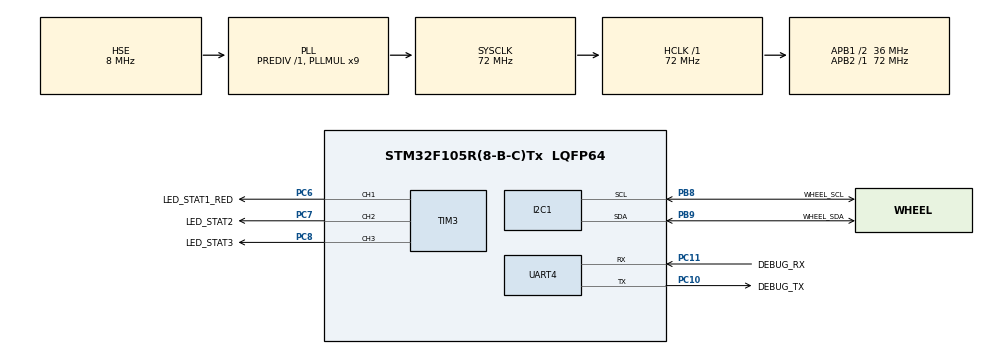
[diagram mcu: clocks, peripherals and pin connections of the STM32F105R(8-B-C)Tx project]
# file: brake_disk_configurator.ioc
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I2C1.I2C_Mode=I2C_Standard
Mcu.Family=STM32F1
Mcu.Name=STM32F105R(8-B-C)Tx
Mcu.Package=LQFP64
Mcu.UserConstants=DEBUG_UART,$$_UART4_IP_HANDLE_$$;LED_TIMER,$$_TIM3_IP_HANDLE_$$;WHEEL_I2C,$$_I2C1_IP_HANDLE_$$
NVIC.PriorityGroup=NVIC_PRIORITYGROUP_4
PA13.Mode=Serial_Wire
PA13.Signal=SYS_JTMS-SWDIO
PA14.Mode=Serial_Wire
PA14.Signal=SYS_JTCK-SWCLK
PB8.GPIO_Label=WHEEL_SCL
PB8.Mode=I2C
PB8.Signal=I2C1_SCL
PB9.GPIO_Label=WHEEL_SDA
PB9.Mode=I2C
PB9.Signal=I2C1_SDA
PC10.GPIO_Label=DEBUG_TX
PC10.Mode=Asynchronous
PC10.Signal=UART4_TX
PC11.GPIO_Label=DEBUG_RX
PC11.Mode=Asynchronous
PC11.Signal=UART4_RX
PC6.GPIO_Label=LED_STAT1_RED
PC6.Signal=S_TIM3_CH1
PC7.GPIO_Label=LED_STAT2
PC7.Signal=S_TIM3_CH2
PC8.GPIO_Label=LED_STAT3
PC8.Signal=S_TIM3_CH3
PD0-OSC_IN.Mode=HSE-External-Oscillator
PD0-OSC_IN.Signal=RCC_OSC_IN
PD1-OSC_OUT.Mode=HSE-External-Oscillator
PD1-OSC_OUT.Signal=RCC_OSC_OUT
ProjectManager.HeapSize=0x200
ProjectManager.StackSize=0x400
ProjectManager.TargetToolchain=STM32CubeIDE
RCC.AHBFreq_Value=72000000
RCC.APB1CLKDivider=RCC_HCLK_DIV2
RCC.APB1Freq_Value=36000000
RCC.APB1TimFreq_Value=72000000
RCC.APB2Freq_Value=72000000
RCC.APB2TimFreq_Value=72000000
RCC.HCLKFreq_Value=72000000
RCC.PLLMUL=RCC_PLL_MUL9
RCC.PLLSourceVirtual=RCC_PLLSOURCE_HSE
RCC.SYSCLKFreq_VALUE=72000000
RCC.SYSCLKSource=RCC_SYSCLKSOURCE_PLLCLK
RCC.USBFreq_Value=48000000
SH.S_TIM3_CH1.0=TIM3_CH1,PWM Generation1 CH1
SH.S_TIM3_CH2.0=TIM3_CH2,PWM Generation2 CH2
SH.S_TIM3_CH3.0=TIM3_CH3,PWM Generation3 CH3
TIM3.Channel-PWM\ Generation1\ CH1=TIM_CHANNEL_1
TIM3.Channel-PWM\ Generation2\ CH2=TIM_CHANNEL_2
TIM3.Channel-PWM\ Generation3\ CH3=TIM_CHANNEL_3
TIM3.OCMode_PWM-PWM\ Generation1\ CH1=TIM_OCMODE_PWM1
TIM3.Pulse-PWM\ Generation1\ CH1=0
TIM3.Pulse-PWM\ Generation2\ CH2=10000
TIM3.Pulse-PWM\ Generation3\ CH3=50000
UART4.VirtualMode=Asynchronous
VP_TIM3_VS_ClockSourceINT.Mode=Internal
board=custom

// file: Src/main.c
/* USER CODE BEGIN Header */
/**
  ******************************************************************************
  * @file           : main.c
  * @brief          : Main program body
  ******************************************************************************
  * @attention
  *
  * Copyright (c) 2026 STMicroelectronics.
  * All rights reserved.
  *
  * This software is licensed under terms that can be found in the LICENSE file
  * in the root directory of this software component.
  * If no LICENSE file comes with this software, it is provided AS-IS.
  *
  ******************************************************************************
  */
/* USER CODE END Header */
#include "main.h"

/* USER CODE BEGIN Includes */
#include <stdio.h>
#include "mlx90614.h"
#include "string.h"
/* USER CODE END Includes */

/* USER CODE BEGIN PTD */
enum CLICommandType {
	CLI_UNKNOWN 		= 0,
	CLI_HELP			= 'H',
	CLI_SCAN 			= 'S',
	CLI_READ_OBJECT 	= 'O',
	CLI_READ_AMBIENT 	= 'A',
	CLI_SET_EMISSIVITY 	= 'E',
	CLI_CHANGE_ADDRESS 	= 'C',
};
/* USER CODE END PTD */

I2C_HandleTypeDef hi2c1;

TIM_HandleTypeDef htim3;

UART_HandleTypeDef huart4;

/* USER CODE BEGIN PV */
static const uint8_t MIN_I2C_ADDR = 0x01;
static const uint8_t MAX_I2C_ADDR = 0x7F;
/* USER CODE END PV */

void SystemClock_Config(void);
static void MX_GPIO_Init(void);
static void MX_TIM3_Init(void);
static void MX_I2C1_Init(void);
static void MX_UART4_Init(void);
/* USER CODE BEGIN PFP */
int handle_calibration(uint8_t* buffer_in, uint32_t length_in, char output_message[], const size_t OUT_BUF_LEN);
/* USER CODE END PFP */

/* USER CODE BEGIN 0 */
static HAL_StatusTypeDef led_set_duty(uint8_t led, uint16_t duty) {
	TIM_OC_InitTypeDef sConfigOC = {0};
	sConfigOC.OCMode = TIM_OCMODE_PWM1;
	sConfigOC.Pulse = duty;
	sConfigOC.OCPolarity = TIM_OCPOLARITY_HIGH;
	sConfigOC.OCFastMode = TIM_OCFAST_DISABLE;

	switch (led) {
	case 1:
		return HAL_TIM_PWM_ConfigChannel(&LED_TIMER, &sConfigOC, TIM_CHANNEL_1);
	case 2:
		return HAL_TIM_PWM_ConfigChannel(&LED_TIMER, &sConfigOC, TIM_CHANNEL_2);
	case 3:
		return HAL_TIM_PWM_ConfigChannel(&LED_TIMER, &sConfigOC, TIM_CHANNEL_3);
	default:
		return HAL_ERROR; // Unrecognized LED number
	}

	return HAL_ERROR; // This shouldn't ever be reached
}
/* USER CODE END 0 */

int main(void)
{

  /* MCU Configuration--------------------------------------------------------*/

  /* Reset of all peripherals, Initializes the Flash interface and the Systick. */
  HAL_Init();

  /* Configure the system clock */
  SystemClock_Config();

  /* Initialize all configured peripherals */
  MX_GPIO_Init();
  MX_TIM3_Init();
  MX_I2C1_Init();
  MX_UART4_Init();
  /* USER CODE BEGIN 2 */

	const uint16_t IN_BUFFER_SIZE = 1024;
	const uint16_t OUT_BUFFER_SIZE = 1024;
	uint8_t in_buffer[IN_BUFFER_SIZE];
	memset(in_buffer, 0, IN_BUFFER_SIZE);
	uint16_t out_length = 0;
	uint8_t out_buffer[OUT_BUFFER_SIZE];
	memset(out_buffer, 0, OUT_BUFFER_SIZE);
  /* USER CODE END 2 */

  /* Infinite loop */
  while (1)
  {

    /* USER CODE BEGIN 3 */
		led_set_duty(3, UINT16_MAX);
		memset(in_buffer, 0, IN_BUFFER_SIZE);
		HAL_UART_Receive(&DEBUG_UART, in_buffer, IN_BUFFER_SIZE, 1000);
		led_set_duty(3, 0);

		out_length = handle_calibration(in_buffer, IN_BUFFER_SIZE, (char*)out_buffer, OUT_BUFFER_SIZE);
		if (out_length > 0) {
			HAL_UART_Transmit(&DEBUG_UART, out_buffer, out_length, 1000);
			memset(out_buffer, 0, out_length);
		}
		HAL_Delay(500);
  }
  /* USER CODE END 3 */
}

void SystemClock_Config(void)
{
  RCC_OscInitTypeDef RCC_OscInitStruct = {0};
  RCC_ClkInitTypeDef RCC_ClkInitStruct = {0};

  /** Initializes the RCC Oscillators according to the specified parameters
  * in the RCC_OscInitTypeDef structure.
  */
  RCC_OscInitStruct.OscillatorType = RCC_OSCILLATORTYPE_HSE;
  RCC_OscInitStruct.HSEState = RCC_HSE_ON;
  RCC_OscInitStruct.HSEPredivValue = RCC_HSE_PREDIV_DIV1;
  RCC_OscInitStruct.HSIState = RCC_HSI_ON;
  RCC_OscInitStruct.Prediv1Source = RCC_PREDIV1_SOURCE_HSE;
  RCC_OscInitStruct.PLL.PLLState = RCC_PLL_ON;
  RCC_OscInitStruct.PLL.PLLSource = RCC_PLLSOURCE_HSE;
  RCC_OscInitStruct.PLL.PLLMUL = RCC_PLL_MUL9;
  RCC_OscInitStruct.PLL2.PLL2State = RCC_PLL_NONE;
  if (HAL_RCC_OscConfig(&RCC_OscInitStruct) != HAL_OK)
  {
    Error_Handler();
  }

  /** Initializes the CPU, AHB and APB buses clocks
  */
  RCC_ClkInitStruct.ClockType = RCC_CLOCKTYPE_HCLK|RCC_CLOCKTYPE_SYSCLK
                              |RCC_CLOCKTYPE_PCLK1|RCC_CLOCKTYPE_PCLK2;
  RCC_ClkInitStruct.SYSCLKSource = RCC_SYSCLKSOURCE_PLLCLK;
  RCC_ClkInitStruct.AHBCLKDivider = RCC_SYSCLK_DIV1;
  RCC_ClkInitStruct.APB1CLKDivider = RCC_HCLK_DIV2;
  RCC_ClkInitStruct.APB2CLKDivider = RCC_HCLK_DIV1;

  if (HAL_RCC_ClockConfig(&RCC_ClkInitStruct, FLASH_LATENCY_2) != HAL_OK)
  {
    Error_Handler();
  }

  /** Configure the Systick interrupt time
  */
  __HAL_RCC_PLLI2S_ENABLE();
}

static void MX_I2C1_Init(void)
{

  hi2c1.Instance = I2C1;
  hi2c1.Init.ClockSpeed = 100000;
  hi2c1.Init.DutyCycle = I2C_DUTYCYCLE_2;
  hi2c1.Init.OwnAddress1 = 0;
  hi2c1.Init.AddressingMode = I2C_ADDRESSINGMODE_7BIT;
  hi2c1.Init.DualAddressMode = I2C_DUALADDRESS_DISABLE;
  hi2c1.Init.OwnAddress2 = 0;
  hi2c1.Init.GeneralCallMode = I2C_GENERALCALL_DISABLE;
  hi2c1.Init.NoStretchMode = I2C_NOSTRETCH_DISABLE;
  if (HAL_I2C_Init(&hi2c1) != HAL_OK)
  {
    Error_Handler();
  }

}

static void MX_TIM3_Init(void)
{

  TIM_ClockConfigTypeDef sClockSourceConfig = {0};
  TIM_MasterConfigTypeDef sMasterConfig = {0};
  TIM_OC_InitTypeDef sConfigOC = {0};

  htim3.Instance = TIM3;
  htim3.Init.Prescaler = 0;
  htim3.Init.CounterMode = TIM_COUNTERMODE_UP;
  htim3.Init.Period = 65535;
  htim3.Init.ClockDivision = TIM_CLOCKDIVISION_DIV1;
  htim3.Init.AutoReloadPreload = TIM_AUTORELOAD_PRELOAD_DISABLE;
  if (HAL_TIM_Base_Init(&htim3) != HAL_OK)
  {
    Error_Handler();
  }
  sClockSourceConfig.ClockSource = TIM_CLOCKSOURCE_INTERNAL;
  if (HAL_TIM_ConfigClockSource(&htim3, &sClockSourceConfig) != HAL_OK)
  {
    Error_Handler();
  }
  if (HAL_TIM_PWM_Init(&htim3) != HAL_OK)
  {
    Error_Handler();
  }
  sMasterConfig.MasterOutputTrigger = TIM_TRGO_RESET;
  sMasterConfig.MasterSlaveMode = TIM_MASTERSLAVEMODE_DISABLE;
  if (HAL_TIMEx_MasterConfigSynchronization(&htim3, &sMasterConfig) != HAL_OK)
  {
    Error_Handler();
  }
  sConfigOC.OCMode = TIM_OCMODE_PWM1;
  sConfigOC.Pulse = 0;
  sConfigOC.OCPolarity = TIM_OCPOLARITY_HIGH;
  sConfigOC.OCFastMode = TIM_OCFAST_DISABLE;
  if (HAL_TIM_PWM_ConfigChannel(&htim3, &sConfigOC, TIM_CHANNEL_1) != HAL_OK)
  {
    Error_Handler();
  }
  sConfigOC.Pulse = 10000;
  if (HAL_TIM_PWM_ConfigChannel(&htim3, &sConfigOC, TIM_CHANNEL_2) != HAL_OK)
  {
    Error_Handler();
  }
  sConfigOC.Pulse = 50000;
  if (HAL_TIM_PWM_ConfigChannel(&htim3, &sConfigOC, TIM_CHANNEL_3) != HAL_OK)
  {
    Error_Handler();
  }
  /* USER CODE BEGIN TIM3_Init 2 */
	HAL_TIM_PWM_Start(&htim3, TIM_CHANNEL_1);
	HAL_TIM_PWM_Start(&htim3, TIM_CHANNEL_2);
	HAL_TIM_PWM_Start(&htim3, TIM_CHANNEL_3);
  /* USER CODE END TIM3_Init 2 */
  HAL_TIM_MspPostInit(&htim3);

}

static void MX_UART4_Init(void)
{

  huart4.Instance = UART4;
  huart4.Init.BaudRate = 115200;
  huart4.Init.WordLength = UART_WORDLENGTH_8B;
  huart4.Init.StopBits = UART_STOPBITS_1;
  huart4.Init.Parity = UART_PARITY_NONE;
  huart4.Init.Mode = UART_MODE_TX_RX;
  huart4.Init.HwFlowCtl = UART_HWCONTROL_NONE;
  huart4.Init.OverSampling = UART_OVERSAMPLING_16;
  if (HAL_UART_Init(&huart4) != HAL_OK)
  {
    Error_Handler();
  }

}

static void MX_GPIO_Init(void)
{

  /* GPIO Ports Clock Enable */
  __HAL_RCC_GPIOD_CLK_ENABLE();
  __HAL_RCC_GPIOC_CLK_ENABLE();
  __HAL_RCC_GPIOA_CLK_ENABLE();
  __HAL_RCC_GPIOB_CLK_ENABLE();

}

/* USER CODE BEGIN 4 */
int perform_i2c_scan(I2C_HandleTypeDef* bus, uint8_t result_buffer[], const uint8_t MAX_MATCHES) {
	assert(MAX_MATCHES > 0);

	uint_fast8_t match_count = 0;

	const uint8_t I2C_TRIALS = 3;
	const uint32_t I2C_TIMEOUT = 10;

	for (uint8_t add = MIN_I2C_ADDR; add <= MAX_I2C_ADDR; add++) {
		if (HAL_I2C_IsDeviceReady(bus, add << 1, I2C_TRIALS, I2C_TIMEOUT) != HAL_OK) continue;

		// Avoid writing out of bounds, but keep counting
		if (match_count < MAX_MATCHES) result_buffer[match_count] = add;
		match_count++;
	}

	return match_count;
}

uint8_t parse_address(uint8_t buffer[]) {
	uint8_t address = 0;
	for (int i = 0; i < 2; i++) {
		address = address << 4;
		int8_t temp = buffer[i];

		if (temp >= '0' && temp <= '9') address = address + (temp - '0');
		else if (temp >= 'A' && temp <= 'F') address = address + 10 + (temp - 'A');
		else return UINT8_MAX; // Definitely invalid
	}
	return address;
}

float parse_emissivity(uint8_t buffer[]) {
	uint32_t numerator = 0;
	uint32_t denominator = 1;

	for (uint8_t i = 0; buffer[i] != 0; i++) {
		denominator = denominator * 10;
		numerator = numerator * 10;

		int8_t temp = buffer[i];
		if (temp < '0' || temp > '9') return -1.0; // Definitely invalid
		numerator = numerator + (temp - '0');
	}

	float emissivity = (float)numerator / (float)denominator;
	return emissivity;
}

int handle_calibration(uint8_t* buffer_in, uint32_t length_in, char output_message[], const size_t OUT_BUF_LEN) {
	if (length_in < 1) return 0;
	if (buffer_in[0] == 0) return 0;

	HAL_StatusTypeDef ret = HAL_OK;

	output_message[0] = 0; // Default to an empty string

	int pos = 0;

	enum CLICommandType command = buffer_in[0];

	struct MLXDevice target_mlx = {
			.address = 0,
			.i2c_bus = &WHEEL_I2C,
	};

	switch (command) {
	case CLI_READ_AMBIENT:
	case CLI_READ_OBJECT:
	case CLI_CHANGE_ADDRESS:
	case CLI_SET_EMISSIVITY:
		if (length_in < 3) {
			pos += snprintf(&output_message[pos], OUT_BUF_LEN - pos, "Insufficient characters received for a valid I2C address\n");
			return pos;
		}

		uint8_t temp_buf[3] = {0, 0, 0};
		temp_buf[0] = buffer_in[1];
		temp_buf[1] = buffer_in[2];
		target_mlx.address = parse_address(temp_buf);

		if (!(target_mlx.address >= MIN_I2C_ADDR && target_mlx.address <= MAX_I2C_ADDR)) {
			pos += snprintf(&output_message[pos], OUT_BUF_LEN - pos, "Invalid I2C address specified \'%s\', must be between 0x%02X and 0x%02X inclusive\n", temp_buf, MIN_I2C_ADDR, MAX_I2C_ADDR);
			return pos;
		}
		break;

	case CLI_HELP:
	case CLI_SCAN:
	default:
		break;
	}

	const uint8_t MAX_I2C_MATCHES = 10;
	uint8_t matches[MAX_I2C_MATCHES];

	switch (command) {
	case CLI_HELP:
		pos += snprintf(&output_message[pos], OUT_BUF_LEN - pos, "\n\nTITAN CALIBRATION FIRMWARE HELP\n");
		pos += snprintf(&output_message[pos], OUT_BUF_LEN - pos, "All commands follow format \"CA,P\" where:\n\tC is command character\n\tA is target address in hexadecimal\n\tP is optional parameter with leading comma\n");
		pos += snprintf(&output_message[pos], OUT_BUF_LEN - pos, "Valid command characters:\n");
		pos += snprintf(&output_message[pos], OUT_BUF_LEN - pos, "\t%c - Print this help message (no node/parameter)\n", CLI_HELP);
		pos += snprintf(&output_message[pos], OUT_BUF_LEN - pos, "\t%c - Scan wheel I2C bus for sensors (A and P will be ignored)\n", CLI_SCAN);
		pos += snprintf(&output_message[pos], OUT_BUF_LEN - pos, "\t%c - Read the object temperature of the sensor\n", CLI_READ_OBJECT);
		pos += snprintf(&output_message[pos], OUT_BUF_LEN - pos, "\t%c - Read the ambient temperature of the sensor\n", CLI_READ_AMBIENT);
		pos += snprintf(&output_message[pos], OUT_BUF_LEN - pos, "\t%c - Set sensor's object's emissivity as P (decimal points after 0, so 0.73 would be \'73\', enter \'0\' for 1.0)\n", CLI_SET_EMISSIVITY);
		pos += snprintf(&output_message[pos], OUT_BUF_LEN - pos, "\t%c - Change sensor's address from A to P (hexadecimal)\n", CLI_CHANGE_ADDRESS);
		pos += snprintf(&output_message[pos], OUT_BUF_LEN - pos, "\nNOTE: Sensor address and object emissivity are stored to non-volatile memory AND NEED A REBOOT!\n\n");
		break;
	case CLI_SCAN:
		int match_count = perform_i2c_scan(target_mlx.i2c_bus, matches, MAX_I2C_MATCHES);

		if (match_count == 0) pos += snprintf(&output_message[pos], OUT_BUF_LEN - pos, "No devices found on wheel I2C bus. Check connections.\n");
		else if (match_count < 0) pos += snprintf(&output_message[pos], OUT_BUF_LEN - pos, "Error happened during I2C scan: %d\n", match_count);
		else if (match_count <= MAX_I2C_MATCHES) pos += snprintf(&output_message[pos], OUT_BUF_LEN - pos, "Found %d devices during I2C scan of wheel bus at these addresses:\n", match_count);
		else pos += snprintf(&output_message[pos], OUT_BUF_LEN - pos, "Found %d devices during scan of wheel bus, but only the first %d addresses can be listed:\n", match_count, MAX_I2C_MATCHES);

		for (int_fast8_t i = 0; i < match_count; i++) {
			pos += snprintf(&output_message[pos], OUT_BUF_LEN - pos, "\t0x%02X\n", matches[i]);
		}
		break;
	case CLI_CHANGE_ADDRESS:
		if (length_in < 6) {
			pos += snprintf(&output_message[pos], OUT_BUF_LEN - pos, "Insufficient characters received for a valid new I2C address\n");
			break;
		}

		uint8_t temp_buf[3] = {0, 0, 0};
		temp_buf[0] = buffer_in[4];
		temp_buf[1] = buffer_in[5];
		uint8_t new_address = parse_address(temp_buf);
		uint8_t old_address = target_mlx.address;
		if (new_address < MIN_I2C_ADDR || new_address > MAX_I2C_ADDR) {
			pos += snprintf(&output_message[pos], OUT_BUF_LEN - pos, "Invalid new I2C address specified \'%s\', must be between 0x%02X and 0x%02X\n", temp_buf, MIN_I2C_ADDR, MAX_I2C_ADDR);
			break;
		}
		ret = mlx_change_address(&target_mlx, new_address);

		if (ret == HAL_OK) pos += snprintf(&output_message[pos], OUT_BUF_LEN - pos, "Successfully changed brake disk sensor address from 0x%02X to 0x%02X\n", old_address, new_address);
		else pos += snprintf(&output_message[pos], OUT_BUF_LEN - pos, "Failed to change brake disk sensor address from 0x%02X to 0x%02X, error code %d\n", old_address, new_address, ret);
		break;
	case CLI_READ_OBJECT:
		float object_temperature_deg_c = 0;
		ret = mlx_read_object_temperature_deg_c(target_mlx, &object_temperature_deg_c);

		if (ret == HAL_OK) pos += snprintf(&output_message[pos], OUT_BUF_LEN - pos, "Object temperature at 0x%02X is %.2f *C\n", target_mlx.address, object_temperature_deg_c);
		else pos += snprintf(&output_message[pos], OUT_BUF_LEN - pos, "Failed to read object temperature at 0x%02X, error code %d\n", target_mlx.address, ret);
		break;

	case CLI_READ_AMBIENT:
		float ambient_temperature_deg_c = 0;
		ret = mlx_read_object_temperature_deg_c(target_mlx, &ambient_temperature_deg_c);

		if (ret == HAL_OK) pos += snprintf(&output_message[pos], OUT_BUF_LEN - pos, "Ambient temperature at 0x%02X is %.2f *C\n", target_mlx.address, ambient_temperature_deg_c);
		else pos += snprintf(&output_message[pos], OUT_BUF_LEN - pos, "Failed to read ambient temperature at 0x%02X, error code %d\n", target_mlx.address, ret);
		break;

	case CLI_SET_EMISSIVITY:
		if (length_in < 5) {
			pos += snprintf(&output_message[pos], OUT_BUF_LEN - pos, "Insufficient characters received for a valid new emissivity\n");
			break;
		}
		float new_emissivity = parse_emissivity(&buffer_in[4]);
		if (new_emissivity == 0) new_emissivity = 1;

		if (new_emissivity < 0) {
			pos += snprintf(&output_message[pos], OUT_BUF_LEN - pos, "Invalid numeric string provided for emissivity: \'%s\'\n", &buffer_in[4]);
			break;
		}

		ret = mlx_write_emissivity(target_mlx, new_emissivity);

		if (ret == HAL_OK) pos += snprintf(&output_message[pos], OUT_BUF_LEN - pos, "Configured object emissivity at 0x%02X to %.4f\n", target_mlx.address, new_emissivity);
		else pos += snprintf(&output_message[pos], OUT_BUF_LEN - pos, "Failed to set object emissivity at 0x%02X, error code %d\n", target_mlx.address, ret);
		break;

	case CLI_UNKNOWN:
	default:
		pos = snprintf(&output_message[pos], OUT_BUF_LEN, "Command not recognized \"%s\". Enter \'%c\' for help message\n", buffer_in, CLI_HELP);
		break;
	}

	return pos;
}
/* USER CODE END 4 */

void Error_Handler(void)
{
  __disable_irq();
  while (1)
  {
  }
}
